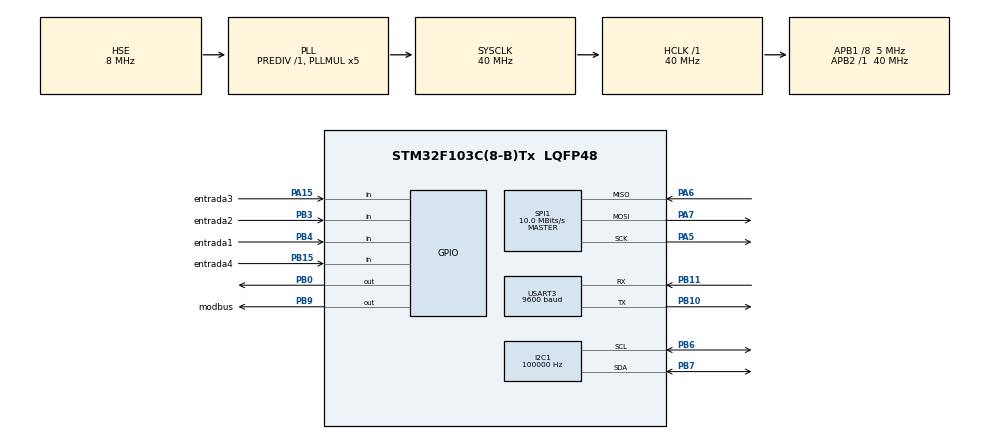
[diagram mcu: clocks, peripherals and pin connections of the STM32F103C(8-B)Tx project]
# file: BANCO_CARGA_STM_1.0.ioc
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Dma.Request0=USART3_RX
Dma.Request1=USART3_TX
Dma.USART3_RX.0.Direction=DMA_PERIPH_TO_MEMORY
Dma.USART3_RX.0.Instance=DMA1_Channel3
Dma.USART3_RX.0.MemDataAlignment=DMA_MDATAALIGN_BYTE
Dma.USART3_RX.0.MemInc=DMA_MINC_ENABLE
Dma.USART3_RX.0.Mode=DMA_NORMAL
Dma.USART3_RX.0.PeriphDataAlignment=DMA_PDATAALIGN_BYTE
Dma.USART3_RX.0.PeriphInc=DMA_PINC_DISABLE
Dma.USART3_RX.0.Priority=DMA_PRIORITY_LOW
Dma.USART3_TX.1.Direction=DMA_MEMORY_TO_PERIPH
Dma.USART3_TX.1.Instance=DMA1_Channel2
Dma.USART3_TX.1.MemDataAlignment=DMA_MDATAALIGN_BYTE
Dma.USART3_TX.1.MemInc=DMA_MINC_ENABLE
Dma.USART3_TX.1.Mode=DMA_NORMAL
Dma.USART3_TX.1.PeriphDataAlignment=DMA_PDATAALIGN_BYTE
Dma.USART3_TX.1.PeriphInc=DMA_PINC_DISABLE
Dma.USART3_TX.1.Priority=DMA_PRIORITY_LOW
FATFS._MAX_SS=1024
FATFS._USE_LFN=3
I2C1.ClockSpeed=100000
Mcu.Family=STM32F1
Mcu.Name=STM32F103C(8-B)Tx
Mcu.Package=LQFP48
NVIC.DMA1_Channel2_IRQn=true\:0\:0\:false\:false\:true\:false\:true
NVIC.DMA1_Channel3_IRQn=true\:0\:0\:false\:false\:true\:false\:true
NVIC.PriorityGroup=NVIC_PRIORITYGROUP_4
NVIC.USART3_IRQn=true\:0\:0\:false\:false\:true\:true\:true
PA13.Mode=Serial_Wire
PA13.Signal=SYS_JTMS-SWDIO
PA14.Mode=Serial_Wire
PA14.Signal=SYS_JTCK-SWCLK
PA15.GPIO_Label=entrada3
PA15.Signal=GPIO_Input
PA5.Mode=Full_Duplex_Master
PA5.Signal=SPI1_SCK
PA6.Mode=Full_Duplex_Master
PA6.Signal=SPI1_MISO
PA7.Mode=Full_Duplex_Master
PA7.Signal=SPI1_MOSI
PB0.Signal=GPIO_Output
PB10.Mode=Asynchronous
PB10.Signal=USART3_TX
PB11.Mode=Asynchronous
PB11.Signal=USART3_RX
PB15.GPIO_Label=entrada4
PB15.Signal=GPIO_Input
PB3.GPIO_Label=entrada2
PB3.Signal=GPIO_Input
PB4.GPIO_Label=entrada1
PB4.Signal=GPIO_Input
PB6.Mode=I2C
PB6.Signal=I2C1_SCL
PB7.Mode=I2C
PB7.Signal=I2C1_SDA
PB9.GPIO_Label=modbus
PB9.Signal=GPIO_Output
PD0-OSC_IN.Mode=HSE-External-Oscillator
PD0-OSC_IN.Signal=RCC_OSC_IN
PD1-OSC_OUT.Mode=HSE-External-Oscillator
PD1-OSC_OUT.Signal=RCC_OSC_OUT
ProjectManager.HeapSize=0x200
ProjectManager.StackSize=0x400
ProjectManager.TargetToolchain=STM32CubeIDE
RCC.AHBFreq_Value=40000000
RCC.APB1CLKDivider=RCC_HCLK_DIV8
RCC.APB1Freq_Value=5000000
RCC.APB1TimFreq_Value=10000000
RCC.APB2Freq_Value=40000000
RCC.APB2TimFreq_Value=40000000
RCC.HCLKFreq_Value=40000000
RCC.PLLMUL=RCC_PLL_MUL5
RCC.PLLSourceVirtual=RCC_PLLSOURCE_HSE
RCC.SYSCLKFreq_VALUE=40000000
RCC.SYSCLKSource=RCC_SYSCLKSOURCE_PLLCLK
RCC.USBFreq_Value=40000000
SPI1.BaudRatePrescaler=SPI_BAUDRATEPRESCALER_4
SPI1.CalculateBaudRate=10.0 MBits/s
SPI1.Direction=SPI_DIRECTION_2LINES
SPI1.Mode=SPI_MODE_MASTER
SPI1.VirtualType=VM_MASTER
TIM1.Period=0xffff-1
TIM1.Prescaler=1-1
USART3.BaudRate=9600
USART3.VirtualMode=VM_ASYNC
VP_FATFS_VS_Generic.Mode=User_defined
VP_TIM1_VS_ClockSourceINT.Mode=Internal
board=custom

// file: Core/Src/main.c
/* USER CODE BEGIN Header */
/**
  ******************************************************************************
  * @file           : main.c
  * @brief          : Main program body
  ******************************************************************************
  * @attention
  *
  * <h2><center>&copy; Copyright (c) 2021 STMicroelectronics.
  * All rights reserved.</center></h2>
  *
  * This software component is licensed by ST under BSD 3-Clause license,
  * the "License"; You may not use this file except in compliance with the
  * License. You may obtain a copy of the License at:
  *                        opensource.org/licenses/BSD-3-Clause
  *
  ******************************************************************************
  */
/* USER CODE END Header */
#include "main.h"
#include "fatfs.h"

/* USER CODE BEGIN Includes */
#include "i2c-lcd.h"
#include "math.h"
#include "fatfs_sd.h"
#include "string.h"
#include "stdio.h"
/* USER CODE END Includes */

/* USER CODE BEGIN PD */
#define Address_PCF1 0x44//0x42
#define Address_PCF2 0x48//0x4A
/* USER CODE END PD */

I2C_HandleTypeDef hi2c1;

SPI_HandleTypeDef hspi1;

TIM_HandleTypeDef htim1;

UART_HandleTypeDef huart3;
DMA_HandleTypeDef hdma_usart3_rx;
DMA_HandleTypeDef hdma_usart3_tx;

/* USER CODE BEGIN PV */

/*-------- INICIO VARIABLES DEL PROGRAMA --------*/
//RTC
uint8_t get_time[17];
//UBICACION DE SALIDAS
uint8_t salidaReles[] = {
		0xFF,0xFF,
		0xFB,0xFF,
		0xDF,0xFF,
		0xF3,0xFF,
		0xD7,0xFF,
		0x7B,0xFE,
		0xD5,0xFF,
		0x73,0xFE,
		0x95,0xFF,
		0x59,0xFE,
		0xC4,0xFF,
		0x43,0xFE,
		0x84,0xFF,
		0x11,0xFE,
		0x05,0xFE,
		0x01,0xFE,
		0x04,0xFE
		};

//Variables Modbus
uint16_t Tension[3];
uint16_t Corriente[3];
uint16_t Potencia[3];
uint8_t mensaje1[] = {2, 3, 0, 9, 0, 6, 21, 249};		/* Tension Canal A,B,C*/
uint8_t mensaje2[] = {2, 3, 0, 15, 0, 6, 245, 248};	/* Corriente Canal A,B,C*/
uint8_t mensaje3[] = {2, 3, 0, 39, 0, 6, 117, 240};	/*Potencia Canal A,B,C*/
uint8_t M_Tension[17];
uint8_t M_Corriente[17];
uint8_t M_Potencia[17];
uint8_t h_calculo = 0;
uint8_t h_envio = 0;
uint32_t mantisa = 0;
int16_t ex;
uint8_t devolucion;
uint8_t dato_a;
uint8_t dato_b;
uint8_t dato_c;
uint8_t dato_d;
uint8_t ubicacion;
uint8_t crc2 = 0;
uint8_t crc1 = 0;
uint16_t crcinicio;
uint8_t receptordei2c = 0;

//Varibales pulsadores
uint8_t est_up , est_down , est_left , est_right ;
uint8_t seg_up = 0;
uint8_t seg_down = 0;
uint8_t seg_left = 0;
uint8_t seg_right = 0;

//Variables menu
uint8_t menu_conf = 1;
uint8_t menu_auto = 0;
uint8_t menu_manu = 0;
uint8_t pag_menu = 0;
uint8_t g_menu = 0;
uint8_t m_cursor = 0;
uint8_t cursor_fila = 0;
uint8_t paso = 1;
uint8_t pag_anterior = 0;
uint8_t leer = 1;
uint8_t compsegundo;
uint32_t tiempo1;
uint32_t tiempo2;
//Variables de salida
uint8_t tiempo = 1;
uint8_t P_min = 1;
uint8_t P_max = 1;
uint8_t P_pas = 1;
uint8_t P_modo = 1;
uint8_t P_modo_franco = 1;
uint8_t P_sig = 0;
uint8_t direccion = 0;
uint8_t fin = 0;
uint8_t ultimo = 0;
uint8_t set_segundo;
uint8_t set_minuto;
uint8_t set_hors;
uint8_t i2c_tiempo_ok = 0;
//PARA VISUALIZAR EN DISPLAY
uint8_t dif_hora = 0;
uint8_t dif_minuto = 0;
uint8_t dif_segundo = 0;
//Variables Creacion de Caracteres
char customChar[] = {
  0x00,
  0x04,
  0x02,
  0x1F,
  0x02,
  0x04,
  0x00,
  0x00
};
char ambos[] = {
  0x04,
  0x0E,
  0x1F,
  0x00,
  0x00,
  0x1F,
  0x0E,
  0x04
};

char arriba[] = {
  0x04,
  0x0E,
  0x1F,
  0x00,
  0x00,
  0x00,
  0x00,
  0x00
};
char abajo[] = {
  0x00,
  0x00,
  0x00,
  0x00,
  0x00,
  0x1F,
  0x0E,
  0x04
};
/*-------- FIN VARIABLES DEL PROGRAMA --------*/

char paraBuffer[6];

/* USER CODE END PV */

void SystemClock_Config(void);
static void MX_GPIO_Init(void);
static void MX_I2C1_Init(void);
static void MX_SPI1_Init(void);
static void MX_DMA_Init(void);
static void MX_USART3_UART_Init(void);
static void MX_TIM1_Init(void);

/* USER CODE BEGIN 0 */
FATFS fs;  // file system
FIL fil; // File
FILINFO fno;
FRESULT fresult;  // result
UINT br, bw;  // File read/write count

/**** capacity related *****/
FATFS *pfs;
DWORD fre_clust;
uint32_t total, free_space;

#define BUFFER_SIZE 50
char buffer[BUFFER_SIZE];  // to store strings..

int i=0;

static void User_I2C1_GeneralPurposeOutput_Init(I2C_HandleTypeDef* i2cHandle)
{

    GPIO_InitTypeDef GPIO_InitStruct;
    if(i2cHandle->Instance==I2C1)
    {
        /*   PB10     ------> I2C2_SCL; PB11     ------> I2C2_SDA */
        GPIO_InitStruct.Pin = GPIO_PIN_6|GPIO_PIN_7;
        GPIO_InitStruct.Mode = GPIO_MODE_OUTPUT_OD;
        GPIO_InitStruct.Speed = GPIO_SPEED_FREQ_HIGH;
        HAL_GPIO_Init(GPIOB, &GPIO_InitStruct);
    }
}

static void User_I2C1_AlternateFunction_Init(I2C_HandleTypeDef* i2cHandle)
{

    GPIO_InitTypeDef GPIO_InitStruct;
    if(i2cHandle->Instance==I2C1)
    {
        /*   PB10     ------> I2C2_SCL; PB11     ------> I2C2_SDA */
        GPIO_InitStruct.Pin = GPIO_PIN_6|GPIO_PIN_7;
        GPIO_InitStruct.Mode = GPIO_MODE_AF_OD;
        GPIO_InitStruct.Speed = GPIO_SPEED_FREQ_HIGH;
        HAL_GPIO_Init(GPIOB, &GPIO_InitStruct);
    }
}

HAL_StatusTypeDef I2CResetBus(void)
{
    hi2c1.ErrorCode = HAL_I2C_ERROR_AF;
    /* 1. Disable the I2C peripheral by clearing the PE bit in I2Cx_CR1 register */
    __HAL_I2C_DISABLE(&hi2c1);
    HAL_GPIO_DeInit(GPIOB, GPIO_PIN_6|GPIO_PIN_7);

    /* 2. Configure the SCL and SDA I/Os as General Purpose Output Open-Drain, High level (Write 1 to GPIOx_ODR) */
    User_I2C1_GeneralPurposeOutput_Init(&hi2c1);
    HAL_Delay(1);
    HAL_GPIO_WritePin(GPIOB, GPIO_PIN_6 | GPIO_PIN_7, GPIO_PIN_SET);
    HAL_Delay(1);

    /* 3. Check SCL and SDA High level in GPIOx_IDR */
    if ((HAL_GPIO_ReadPin(GPIOB, GPIO_PIN_6) != GPIO_PIN_SET)||(HAL_GPIO_ReadPin(GPIOB, GPIO_PIN_7) != GPIO_PIN_SET))
    {
#ifdef I2C_TEST
        printf("3.PB6=%d, PB7=%d\r\n", HAL_GPIO_ReadPin(GPIOB, GPIO_PIN_6), HAL_GPIO_ReadPin(GPIOB, GPIO_PIN_7));
#endif
        return HAL_ERROR;
    }

    /* 4. Configure the SDA I/O as General Purpose Output Open-Drain, Low level (Write 0 to GPIOx_ODR).
     * 5. Check SDA Low level in GPIOx_IDR.
     * 6. Configure the SCL I/O as General Purpose Output Open-Drain, Low level (Write 0 to GPIOx_ODR)
     * 7. Check SCL Low level in GPIOx_IDR.
     * */
    HAL_GPIO_WritePin(GPIOB, GPIO_PIN_6|GPIO_PIN_7, GPIO_PIN_RESET);
    HAL_Delay(1);
    if ((HAL_GPIO_ReadPin(GPIOB, GPIO_PIN_6) != GPIO_PIN_RESET)||(HAL_GPIO_ReadPin(GPIOB, GPIO_PIN_7) != GPIO_PIN_RESET))
    {
#ifdef I2C_TEST
        printf("4-7.PB6=%d, PB7=%d\r\n", HAL_GPIO_ReadPin(GPIOB, GPIO_PIN_6), HAL_GPIO_ReadPin(GPIOB, GPIO_PIN_7));
#endif
        return HAL_ERROR;
    }

    /*
     * 8. Configure the SCL I/O as General Purpose Output Open-Drain, High level (Write 1 to GPIOx_ODR).
     * 9. Check SCL High level in GPIOx_IDR.
     * 10. Configure the SDA I/O as General Purpose Output Open-Drain , High level (Write 1 to GPIOx_ODR).
     * 11. Check SDA High level in GPIOx_IDR.
     */
    HAL_GPIO_WritePin(GPIOB, GPIO_PIN_6|GPIO_PIN_7, GPIO_PIN_SET);
    HAL_Delay(1);
    if ((HAL_GPIO_ReadPin(GPIOB, GPIO_PIN_6) != GPIO_PIN_SET)||(HAL_GPIO_ReadPin(GPIOB, GPIO_PIN_7) != GPIO_PIN_SET))
    {
#ifdef I2C_TEST
        printf("8-11.PB6=%d, PB7=%d\r\n", HAL_GPIO_ReadPin(GPIOB, GPIO_PIN_6), HAL_GPIO_ReadPin(GPIOB, GPIO_PIN_7));
#endif
        return HAL_ERROR;
    }

    /* 12. Configure the SCL and SDA I/Os as Alternate function Open-Drain. */
    HAL_GPIO_DeInit(GPIOB, GPIO_PIN_6|GPIO_PIN_7);
    User_I2C1_AlternateFunction_Init(&hi2c1);

    /* 13. Set SWRST bit in I2Cx_CR1 register. */
    hi2c1.Instance->CR1 |=  I2C_CR1_SWRST;
    HAL_Delay(2);
    /* 14. Clear SWRST bit in I2Cx_CR1 register. */
    hi2c1.Instance->CR1 &=  ~I2C_CR1_SWRST;
    HAL_Delay(2);
    /* 15. Enable the I2C peripheral by setting the PE bit in I2Cx_CR1 register */
    MX_I2C1_Init();
    __HAL_I2C_ENABLE(&hi2c1);
    HAL_Delay(2);
#ifdef I2C_TEST
    printf("I2CResetBus\r\n");
#endif
    hi2c1.ErrorCode = HAL_I2C_ERROR_NONE;
    hi2c1.State = HAL_I2C_STATE_READY;
    //hi2c1.PreviousState = I2C_STATE_NONE;
    hi2c1.Mode = HAL_I2C_MODE_NONE;
    return HAL_OK;
}

int bufsize (char *buf)
{
	int i=0;
	while (*buf++ != '\0') i++;
	return i;
}

void clear_buffer (void)
{
	for (int i=0; i<BUFFER_SIZE; i++) buffer[i] = '\0';
}

#define DS3231_ADDRESS 0xD0

uint8_t decToBcd(int val){
  return (uint8_t)( (val/10*16) + (val%10) );
}
// Convert binary coded decimal to normal decimal numbers
int bcdToDec(uint8_t val){
  return (int)( (val/16*10) + (val%16) );
}

typedef struct {
	uint8_t seconds;
	uint8_t minutes;
	uint8_t hour;
	uint8_t dayofweek;
	uint8_t dayofmonth;
	uint8_t month;
	uint8_t year;
} TIME;

TIME time;
void Set_Time (uint8_t sec, uint8_t min, uint8_t hour, uint8_t dow, uint8_t dom, uint8_t month, uint8_t year)
{
	uint8_t set_time[7];
	set_time[0] = decToBcd(sec);
	set_time[1] = decToBcd(min);
	set_time[2] = decToBcd(hour);
	set_time[3] = decToBcd(dow);
	set_time[4] = decToBcd(dom);
	set_time[5] = decToBcd(month);
	set_time[6] = decToBcd(year);

	HAL_I2C_Mem_Write(&hi2c1, DS3231_ADDRESS, 0x00, 1, set_time, 7, 1000);
}

void Get_Time (void)
{
	HAL_Delay(1);
	uint8_t est_rtc;
	uint8_t conteo = 0;
	est_rtc = HAL_I2C_Mem_Read(&hi2c1, DS3231_ADDRESS, 0x00, 1, get_time, 17, 200);
	while(est_rtc != HAL_OK){
		est_rtc = HAL_I2C_Mem_Read(&hi2c1, DS3231_ADDRESS, 0x00, 1, get_time, 17, 50);
		conteo++;
		if(conteo > 2) {
			I2CResetBus();
			conteo = 0;
		}
	}
	HAL_Delay(1);
	time.seconds = bcdToDec(get_time[0]);
	time.minutes = bcdToDec(get_time[1]);
	time.hour = bcdToDec(get_time[2]);
	time.dayofweek = bcdToDec(get_time[3]);
	time.dayofmonth = bcdToDec(get_time[4]);
	time.month = bcdToDec(get_time[5]);
	time.year = bcdToDec(get_time[6]);
}
char buffer1[11];

void pcf1_send (uint8_t data){
	uint8_t dato1[1];
	dato1[0]= data;
	HAL_I2C_Master_Transmit(&hi2c1, Address_PCF1 , dato1, 1, 100);
}

void pcf2_send (uint8_t data){
	uint8_t dato2[1];
	dato2[0]= data;
	HAL_I2C_Master_Transmit(&hi2c1, Address_PCF2 , dato2, 1, 100);
}

void Pulsadores(void){
	est_right 	= HAL_GPIO_ReadPin(entrada1_GPIO_Port, entrada1_Pin);
	est_left 	= HAL_GPIO_ReadPin(entrada2_GPIO_Port, entrada2_Pin);
	est_down 	= HAL_GPIO_ReadPin(entrada3_GPIO_Port, entrada3_Pin);
	est_up 		= HAL_GPIO_ReadPin(entrada4_GPIO_Port, entrada4_Pin);

	//-------Configuracion de PULSADOR UP-------
	if((seg_up == 1)&&(est_up == 0)){
		seg_up = 0;
	}
	if((seg_up == 1)&&(est_up == 1)){
	    est_up = 0;
	}
	if((seg_up == 0)&&(est_up == 1)){
	    est_up = 1;
	    seg_up = 1;
	}
	//-------Configuracion de PULSADOR DOWN-------
	if((seg_down == 1)&&(est_down == 0)){
	    seg_down = 0;
	}
	if((seg_down == 1)&&(est_down == 1)){
	    est_down = 0;
	}
	if((seg_down == 0)&&(est_down == 1)){
	    est_down = 1;
	    seg_down = 1;
	}
	//-------Configuracion de PULSADOR LEFT-------
	if((seg_left == 1)&&(est_left == 0)){
	    seg_left = 0;
	}
	if((seg_left == 1)&&(est_left == 1)){
	    est_left = 0;
	}
	if((seg_left == 0)&&(est_left == 1)){
	    est_left = 1;
	    seg_left = 1;
	}
	//-------Configuracion de PULSADOR RIGHT-------
	if((seg_right == 1)&&(est_right == 0)){
	    seg_right = 0;
	}
	if((seg_right == 1)&&(est_right == 1)){
	    est_right = 0;
	}
	if((seg_right == 0)&&(est_right == 1)){
	    est_right = 1;
	    seg_right = 1;
	}
}

void Lcd_Cursor(void){
  //--------- EST_DOWN ---------
  if(est_down == 1){
    if(g_menu == 5){
      pag_menu = 5;
      paso--;
      if(paso<1){paso = 1;}
    }
    if(g_menu == 6){
      pag_menu = 6;
      paso--;
      if(paso<1){paso = 1;}
    }
    if(g_menu == 8){
      pag_menu = 8;
      paso--;
      if(paso>250){paso=0;}
    }
    if(cursor_fila==1){
      switch(g_menu){
        case 1: pag_menu = 2; cursor_fila = 0; break;
        case 2: pag_menu = 3; cursor_fila = 0; break;
        case 4: pag_menu = 4; cursor_fila = 0; paso = paso+2;
                if((paso>16)&&((pag_anterior == 1)||(pag_anterior == 2))){paso = 15; cursor_fila = 1;}
                if((paso >4)&&(pag_anterior == 3)){paso = 3; cursor_fila = 1;}
        break;
      }
    }
    else{ cursor_fila=1; }
    //--------- EST_UP ---------
  }else if(est_up == 1){
    if(g_menu == 5){
      pag_menu = 5;
      paso++;
      if(paso>16){paso = 16;}
    }
    if(g_menu == 6){
      pag_menu = 6;
      paso++;
      if(paso>3){paso = 3;}
    }
    if(g_menu == 8){
      pag_menu = 8;
      paso++;
      if(paso>=16){paso=16;}
    }
    if(cursor_fila == 0){
      switch(g_menu){
        case 2: pag_menu = 1; cursor_fila = 1; break;
        case 3: pag_menu = 2; cursor_fila = 1; break;
        case 4: pag_menu = 4; cursor_fila = 1; paso = paso-2;
              if((paso<1)||(paso > 250)){paso = 1; cursor_fila = 0;}
        break;
      }
    }
    else{cursor_fila=0;}
  }
  //--------- EST_RIGHT ---------
  if(est_right == 1){
    switch(g_menu){
      case 0:
            switch(cursor_fila){
              case 0: pag_menu = 1; break;
              case 1: pag_menu = 8; break;
            }
      break;
      case 1:
            switch(cursor_fila){
              case 0: pag_menu = 4; pag_anterior = 1;if(P_min % 2 == 0){paso = P_min -1; cursor_fila = 1;}else{paso = P_min; cursor_fila = 0;} break;  /*INSTRUCCION POTENCIA MIN*/
              case 1: pag_menu = 4; cursor_fila = 0; pag_anterior = 2; if(P_max % 2 == 0){paso = P_max -1; cursor_fila = 1;}else{paso = P_max; cursor_fila = 0;} break; /*INSTRUCCION POTENCIA MAX*/
            }
      break;
      case 2:
            switch(cursor_fila){
              case 0: pag_menu = 4; pag_anterior = 3; if(P_pas % 2 == 0){paso = P_pas -1; cursor_fila = 1;}else{paso = P_pas; cursor_fila = 0;} break; /*INSTRUCCION POTENCIA PASO*/
              case 1: pag_menu = 5; if(tiempo<5){paso = tiempo;}else if(tiempo >= 5 ){paso = (tiempo*0.2)+4;} break; /*INSTRUCCION TIEMPO PASO*/
            }
      break;
      case 3:
            switch(cursor_fila){
              case 0: pag_menu = 6; paso = P_modo; break; /*INSTRUCCION MODO ARRANQUE*/
              case 1: pag_menu = 7; break; /*INSTRUCCION INICIAR*/
            }
      break;
      case 4:
          switch(pag_anterior){
            case 1: if(cursor_fila == 0){P_min = paso;}else{P_min = paso+1;} pag_menu = 1; cursor_fila = 0;
            break;
            case 2: if(cursor_fila == 0){P_max = paso;}else{P_max = paso+1;} pag_menu = 1; cursor_fila = 1;
            break;
            case 3: if(cursor_fila == 0){P_pas = paso;}else{P_pas = paso+1;} pag_menu = 2; cursor_fila = 0;
            break;
          }
      break;
      case 5: pag_menu = 2; cursor_fila = 1;
      break;
      case 6: P_modo = paso; pag_menu = 3; cursor_fila = 0;
      break;
      case 8: //AL DAR EL OK EN LA SELECCION DE POTENCIA MANUAL

    	  	  lcd_clear();
    	  	  uint8_t valor1 = 7.5*paso;
    	  	  uint8_t valor2;
    	  	  if(paso % 2 == 0){
    	  		  valor2 = 0;
    	  	  }else {valor2 = 5;}
    	  	  lcd_put_cur(0,0);
    	  	  lcd_send_string("MAN");
    	  	  lcd_put_cur(0, 8);
    	  	  lcd_send_string("PASO:");
    	  	  sprintf(buffer,"%2d",paso);
    	  	  lcd_send_string(buffer);
    	  	  lcd_put_cur(1, 0);
    	  	  lcd_send_string("POTENCIA:");
    	  	  sprintf(buffer,"%3d.%1d",valor1,valor2);
    	  	  lcd_send_string(buffer);
    	  	  lcd_send_string("Kw");
    	  	  menu_conf = 0;menu_manu = 1;
              direccion = 2*paso;
              pcf1_send(salidaReles[direccion]);
              pcf2_send(salidaReles[direccion+1]);
              compsegundo = time.seconds + 20;
              HAL_GPIO_WritePin(modbus_GPIO_Port, modbus_Pin, 1);
              h_envio = 1;
              h_calculo = 0;
              HAL_UART_Transmit_DMA(&huart3, mensaje1, 8);
      break;
    }
    //--------- EST_LEFT ---------
  }else if(est_left == 1){
    switch(g_menu){
      case 1: pag_menu = 0; cursor_fila = 0; break;
      case 2: pag_menu = 0; cursor_fila = 0; break;
      case 3: pag_menu = 0; cursor_fila = 0; break;
      case 4: switch(pag_anterior){
                case 1: pag_menu = 1; cursor_fila = 0;break;
                case 2: pag_menu = 1; cursor_fila = 1;break;
                case 3: pag_menu = 2; cursor_fila = 0;break;
              }
      break;
      case 5: pag_menu = 2; cursor_fila = 1; break;
      case 6: pag_menu = 3; cursor_fila = 0; break;
      case 7: pag_menu = 3; cursor_fila = 1; break;
      case 8: pag_menu = 0; cursor_fila = 1;
      	  pcf1_send(salidaReles[0]);
      	  pcf2_send(salidaReles[1]);
      break;
    }
  }
  //--------- CURSOR FILA ---------
  if(g_menu < 5){
	lcd_put_cur(!cursor_fila, 0);
    lcd_send_string(" ");
    lcd_put_cur(cursor_fila, 0);
    lcd_write(0);
  } else if(g_menu == 5){
	  lcd_put_cur(1, 0);
    if(paso == 1){lcd_write(2);}
    else if(paso == 16){lcd_write(3);}
    else {lcd_write(1);}
  }

}

void Escritura_SD(void){
	fresult = f_open(&fil, "DATOS.csv", FA_OPEN_ALWAYS | FA_WRITE);
	fresult = f_lseek(&fil, fil.fsize);
	sprintf (buffer1, "%02d/%02d/%04d", time.dayofmonth, time.month, 2000 + time.year);
	f_puts(buffer1, &fil);
	f_puts(",", &fil);
	sprintf (buffer1, "%02d:%02d:%02d", time.hour, time.minutes, time.seconds);
	f_puts(buffer1, &fil);
	f_puts(",", &fil);
	for(uint8_t z=0 ; z<3 ; z++){
		sprintf (buffer1, "%d", Tension[z]);
		f_puts(buffer1, &fil);
		f_puts(",", &fil);
	}
	for(uint8_t x=0 ; x<3 ; x++){
		sprintf (buffer1, "%d", Corriente[x]);
		f_puts(buffer1, &fil);
		f_puts(",", &fil);
	}
	for(uint8_t y=0 ; y<3 ; y++){
		if(y==2){
			sprintf (buffer1, "%d", Potencia[y]);
			f_puts(buffer1, &fil);
			f_puts("\n", &fil);
		}else{
			sprintf (buffer1, "%d", Potencia[y]);
			f_puts(buffer1, &fil);
			f_puts(",", &fil);
		}
	}
	/* Close file */
	fresult = f_close(&fil);
}

/*
void verificadorCRC(void){
	crcinicio = 0xFFFF;
	for(uint8_t z0 = 0; z0 < 15 ; z0++){
		crcinicio ^= recepcion[z0];
		for(uint8_t z1 = 0; z1 < 8 ; z1++){
			if((crcinicio & 0x0001) != 0){
				crcinicio >>= 1;
				crcinicio ^= 0xA001;
			}else{
				crcinicio >>= 1;
			}
		}
	}
	uint16_t ver1 = crcinicio;
	uint16_t ver2 = crcinicio;
	ver2 >>= 8;
	ver1 &= 0xFF;
	crc2= ver2;
	crc1= ver1;
	if((crc1 == recepcion[15])&&(crc2 == recepcion[16])){
		devolucion = 1;
	}else{
		devolucion = 0;
		fresult = f_open(&fil, "Error.txt", FA_OPEN_ALWAYS | FA_WRITE);
		f_lseek(&fil, fil.fsize);
		for(uint8_t z2 = 0; z2<17 ; z2++){
			sprintf (buffer1, "%d", recepcion[z2]);
			f_puts(buffer1, &fil);
			f_puts("\n", &fil);
		}
		sprintf (buffer1, "%d:%d", crc1, crc2);
		f_puts(buffer1, &fil);
		f_puts("\n", &fil);
		f_close(&fil);
	}
}

void Calculo_modbus(void){
	for(uint8_t vuelta=3;vuelta < 12; vuelta+=4){
		dato_a = recepcion[vuelta];
		dato_b = recepcion[1+vuelta];
		dato_c = recepcion[2+vuelta];
		dato_d = recepcion[3+vuelta];
		ex = 0;
		dato_a &= 0x7F;
		ex = ((dato_a*0x100)+dato_b)>>7;
		ex = ex-126;
		if(((dato_b>>7)&(0x1))== 1){
			mantisa = dato_b*0x10000;
			mantisa = mantisa + dato_c*0x100;
			mantisa = mantisa + dato_d;
		}else{
			mantisa = 0x800000;
			mantisa = mantisa + dato_b*0x10000;
			mantisa = mantisa + dato_c*0x100;
			mantisa = mantisa + dato_d;
		}
		if(ex <= 24 ){
			mantisa = mantisa/ pow(2,24-ex);
		}
		ubicacion = (vuelta+1) / 4;
		ubicacion -= 1;
		if(mensaje == 1){
			Tension[ubicacion] = mantisa;
		}else if(mensaje == 2){
			Corriente[ubicacion] = mantisa;
		}else if(mensaje == 3){
			mantisa /= 1000;
			Potencia[ubicacion] = mantisa;
		}
	}
}

void Modbus(void){
	if(HAL_UART_Receive_IT(&huart3, recepcion, 17) == HAL_OK){
		Get_Time();

		uint8_t errormensaje[1];
		while(HAL_UART_Receive(&huart3, errormensaje, 1, 10) == HAL_OK){}
		Calculo_modbus();
		mensaje++;
		if(mensaje == 4) {
			mensaje = 1;
			Enviar_Mensaje(mensaje);
			Escritura_SD();
			lcd_put_cur(1, 0);
			sprintf(buffer, "%6d", Potencia[0]);
			lcd_send_string(buffer);
		}else{
			Enviar_Mensaje(mensaje);
		}
		for (int i=0; i<17; i++) recepcion[i] = '\0';

		verificadorCRC();
		  if(devolucion == 1){
			lcd_put_cur(1, 8);
			lcd_send_string("C");
			Calculo_modbus();
			mensaje++;
			if(mensaje > 3) {
				mensaje= 1;
				Enviar_Mensaje(mensaje);
				Escritura_SD();
				lcd_put_cur(1, 0);
				sprintf(buffer, "%6d", Potencia[0]);
				lcd_send_string(buffer);
			}else{
				Enviar_Mensaje(mensaje);
			}
		}else{
			lcd_put_cur(1, 9);
			lcd_send_string("I");
			Enviar_Mensaje(mensaje);
		}

	}
}
*/

void Calculo_modbus(uint8_t mensaje){
	for(uint8_t vuelta=3;vuelta < 12; vuelta+=4){
		if(mensaje == 1){
			dato_a = M_Tension[vuelta];
			dato_b = M_Tension[1+vuelta];
			dato_c = M_Tension[2+vuelta];
			dato_d = M_Tension[3+vuelta];
		}else if(mensaje == 2){
			dato_a = M_Corriente[vuelta];
			dato_b = M_Corriente[1+vuelta];
			dato_c = M_Corriente[2+vuelta];
			dato_d = M_Corriente[3+vuelta];
		}else if(mensaje == 3){
			dato_a = M_Potencia[vuelta];
			dato_b = M_Potencia[1+vuelta];
			dato_c = M_Potencia[2+vuelta];
			dato_d = M_Potencia[3+vuelta];
		}
		ex = 0;
		dato_a &= 0x7F;
		ex = ((dato_a*0x100)+dato_b)>>7;
		ex = ex-126;
		if(((dato_b>>7)&(0x1))== 1){
			mantisa = dato_b*0x10000;
			mantisa = mantisa + dato_c*0x100;
			mantisa = mantisa + dato_d;
		}else{
			mantisa = 0x800000;
			mantisa = mantisa + dato_b*0x10000;
			mantisa = mantisa + dato_c*0x100;
			mantisa = mantisa + dato_d;
		}
		if(ex <= 24 ){
			mantisa = mantisa/ pow(2,24-ex);
		}
		ubicacion = (vuelta+1) / 4;
		ubicacion -= 1;
		if(mensaje == 1){
			Tension[ubicacion] = mantisa;
		}else if(mensaje == 2){
			Corriente[ubicacion] = mantisa;
		}else if(mensaje == 3){
			mantisa /= 1000;
			Potencia[ubicacion] = mantisa;
		}
	}
}

void Procesado(){
	if((h_calculo & 0x01)== 0x01){
		Calculo_modbus(1);
		h_calculo ^= 0x01;
	}else if((h_calculo & 0x02)== 0x02){
		Calculo_modbus(2);
		h_calculo ^= 0x02;
	}else if((h_calculo & 0x04)== 0x04){
		Calculo_modbus(3);

		h_calculo ^= 0x04;
	}
}

void MuestraDisplay(){
	uint8_t P_uso = P_sig - 1;
	uint8_t valor1 = 7.5*P_uso;
	uint8_t valor2;

	if(P_uso % 2 == 0){
		valor2 = 0;
	}else {valor2 = 5;}
	tiempo1 = time.hour*3600 + time.minutes*60 + time.seconds;
	tiempo2 = set_hors*3600 + set_minuto*60 + set_segundo;
	uint16_t diferencia;
	if(tiempo2 > tiempo1 ){
		diferencia = tiempo2 - tiempo1;
		if((diferencia/60) < 60){
			dif_hora = 0;
			dif_minuto = diferencia/60;
			dif_segundo = diferencia - dif_minuto*60;
		}else{
			dif_hora = diferencia/3600;
			dif_minuto = diferencia/60;
			dif_minuto = dif_minuto - dif_hora*60;
			dif_segundo = diferencia - (dif_hora*3600 + dif_minuto*60);
		}
	}else if(tiempo1 == tiempo2){
		dif_hora = 0;
		dif_segundo = 0;
		dif_segundo = 0;
	}else{

	}
	lcd_put_cur(0,0);
	lcd_send_string("AUTO");
	lcd_put_cur(0, 8);
	lcd_send_string("PASO:");
	sprintf(buffer,"%2d",P_uso);
	lcd_send_string(buffer);
	lcd_put_cur(1, 0);
	sprintf(buffer,"%3d.%1d",valor1,valor2);
	lcd_send_string(buffer);
	lcd_send_string("Kw");
	sprintf(buffer, "%02d:%02d:%02d", dif_hora, dif_minuto, dif_segundo);
	lcd_put_cur(1, 8);
	lcd_send_string(buffer);
	compsegundo = time.seconds;
}

void Automatico(void){

  //Modbus();
  //lcd_put_cur(1, 0);
  //lcd.print(Potencia[0]);lcd_send_string("W      ");
  if(leer == 1){
	pcf1_send(salidaReles[direccion]);
	pcf2_send(salidaReles[direccion+1]);

    set_segundo = time.seconds;
    set_minuto = time.minutes;
    set_minuto = set_minuto + tiempo;
    set_hors = time.hour;
    if(set_minuto >= 60){
      set_minuto = set_minuto - 60;
      set_hors = set_hors + 1;
    }
    leer = 0;
    if(ultimo == 0){
      if(P_modo == 1){
          P_sig = P_sig + P_pas;
          direccion = 2*P_sig;
          if(P_sig >= P_max){
            P_sig = P_max;
            direccion = 2*P_sig;
            ultimo = 1;
          }
      }else if(P_modo == 2){
          P_sig = P_sig - P_pas;
          direccion = 2*P_sig;
          if((P_sig<=P_min)||(P_sig>240)){
            P_sig = P_min;
            direccion = 2*P_sig;
            ultimo = 1;
          }
      }else if(P_modo == 3){
          if(P_modo_franco == 1){
              P_sig = P_sig + P_pas;
              direccion = 2*P_sig;
              if(P_sig >= P_max){
                P_sig = P_max;
                direccion = 2*P_sig;
                P_modo_franco = 0;
              }
          }else if(P_modo_franco == 0){
              P_sig = P_sig - P_pas;
              direccion = 2*P_sig;
              if((P_sig<=P_min)||(P_sig>240)){
                P_sig = P_min;
                direccion = 2*P_sig;
                ultimo = 1;
              }
          }
      }
    }else{fin = 1;}
  }
  if(time.seconds != compsegundo) {MuestraDisplay(); Escritura_SD();}
  Procesado();
  if((time.seconds== set_segundo)&&(time.minutes== set_minuto)&&(time.hour == set_hors)){
    //Vuelve a repetir el leer
    if(fin == 1){
      menu_conf = 1;
      menu_auto = 0;
      menu_manu = 0;
      pag_menu = 0;
      g_menu = 0;
      m_cursor = 0;
      cursor_fila = 0;
      paso = 1;
      pag_anterior = 0;
      pcf1_send(salidaReles[0]);
      pcf2_send(salidaReles[1]);
      lcd_clear();
      lcd_put_cur(0, 0);
      lcd_send_string("FIN DE SECUENCIA");
      HAL_Delay(2000);
    }else{
      leer = 1;
    }
  }
}

void Manual(void){
	if(time.seconds != compsegundo) {Escritura_SD();compsegundo = time.seconds;}
	Procesado();
  //Modbus();
  //lcd_put_cur(1, 0);
  //lcd.print(Potencia[0]);lcd_send_string("W      ");

  if(est_left == 1){
      menu_conf = 1;
      menu_auto = 0;
      menu_manu = 0;
      pag_menu = 8;
      g_menu = 8;
  }
}

void Lcd_Menu(void){
  if(pag_menu == 0){
      lcd_clear();
      lcd_put_cur(0, 1);
      lcd_send_string("AUTOMATICO");
      lcd_put_cur(1, 1);
      lcd_send_string("MANUAL");
  }else if(pag_menu == 1){
      lcd_clear();
      lcd_put_cur(0, 1);
      lcd_send_string("POTENCIA MIN");
      lcd_put_cur(1, 1);
      lcd_send_string("POTENCIA MAX");
      lcd_put_cur(1, 15);
      lcd_write(3);
  }else if(pag_menu == 2){
      lcd_clear();
      lcd_put_cur(0, 15);
      lcd_write(2);
      lcd_put_cur(0, 1);
      lcd_send_string("POTENCIA PASO");

      lcd_put_cur(1, 1);
      lcd_send_string("TIEMPO PASO");
      lcd_put_cur(1, 15);
      lcd_write(3);
  }else if(pag_menu == 3){
      lcd_clear();
      lcd_put_cur(0, 15);
      lcd_write(2);
      lcd_put_cur(0, 1);
      lcd_send_string("MODO ARRANQUE");
      lcd_put_cur(1, 1);
      lcd_send_string("INICIAR");
  }else if(pag_menu == 4){
	  uint16_t valor1 = 75*paso;
      uint16_t valor2 = 75*(paso+1);
      uint8_t ent_valor1 = valor1*0.1;
      uint8_t ent_valor2 = valor2*0.1;
      uint8_t un_valor1 = valor1 - (ent_valor1 * 10);
      uint8_t un_valor2 = valor2 - (ent_valor2 * 10);
      lcd_clear();
      lcd_put_cur(0, 1);
      sprintf(buffer,"%d",ent_valor1);
      lcd_send_string(buffer);//lcd.print(ent_valor1);
      lcd_send_string(".");
      sprintf(buffer,"%d",un_valor1);
      lcd_send_string(buffer);//lcd.print(un_valor1);
      lcd_put_cur(1, 1);
      sprintf(buffer,"%d",ent_valor2);
      lcd_send_string(buffer);//lcd.print(ent_valor2);
      lcd_send_string(".");
      sprintf(buffer,"%d",un_valor2);
      lcd_send_string(buffer);//lcd.print(un_valor2);
  }else if(pag_menu == 5){
      if(paso<5){
        tiempo = paso;
      }else if(paso >= 5 ){
        tiempo = 5*(paso-4);
      }
      lcd_clear();
      lcd_put_cur(0, 1);
      lcd_send_string("TIEMPO POR PASO");
      lcd_put_cur(1, 1);
      sprintf(buffer,"%d",tiempo);
      lcd_send_string(buffer);//lcd.print(tiempo);
      lcd_send_string(" min");
  }else if(pag_menu == 6){
      lcd_clear();
      lcd_put_cur(0, 0);
      lcd_send_string("MODO DE ARRANQUE");
      lcd_put_cur(1, 0);
      switch(paso){
        case 1: lcd_write(2);
        	lcd_send_string("MIN-MAX");
        break;
        case 2: lcd_write(1);
        	lcd_send_string("MAX-MIN");
        break;
        case 3: lcd_write(3);
        	lcd_send_string("MIN-MAX-MIN");
        break;
      }
  }else if(pag_menu == 7){
    lcd_clear();
    menu_conf = 0;
    leer = 1;
    menu_auto = 1;
    ultimo = 0;
    fin = 0;
    if(P_modo == 1){
      P_sig = P_min;
      direccion = 2*P_min;
    }else if(P_modo == 2){
      P_sig = P_max;
      direccion = 2*P_max;
    }else if(P_modo == 3){
      P_sig = P_min;
      direccion = 2*P_min;
      P_modo_franco = 1;
    }
    compsegundo = time.seconds + 20;
    HAL_GPIO_WritePin(modbus_GPIO_Port, modbus_Pin, 1);
    h_envio = 1;
    h_calculo = 0;
    HAL_UART_Transmit_DMA(&huart3, mensaje1, 8);

  }else if(pag_menu == 8){		//AL DAR EL OK EN MENU "MANUAL"
    uint16_t valor1 = 75*paso;
    uint8_t ent_valor1 = valor1*0.1;
    uint8_t un_valor1 = valor1 - (ent_valor1 * 10);
    lcd_clear();
    lcd_put_cur(0, 0);
    if(paso == 0){
    	lcd_write(2);
    }else if(paso == 16){
    	lcd_write(3);
    }else{lcd_write(1);}
    lcd_put_cur(0, 1);
    lcd_send_string("POTENCIA: ");
    sprintf(buffer,"%d",ent_valor1);
    lcd_send_string(buffer);//lcd.print(ent_valor1);
    lcd_send_string(".");
    sprintf(buffer,"%d",un_valor1);
    lcd_send_string(buffer);//lcd.print(un_valor1);
  }

  if(pag_menu != 254){
    g_menu = pag_menu;
  }
  pag_menu = 254;
}

void Ajuste(void){
  Lcd_Menu();
  Lcd_Cursor();
}

/* USER CODE END 0 */

int main(void)
{

  /* MCU Configuration--------------------------------------------------------*/

  /* Reset of all peripherals, Initializes the Flash interface and the Systick. */
  HAL_Init();

  /* Configure the system clock */
  SystemClock_Config();

  /* Initialize all configured peripherals */
  MX_GPIO_Init();
  MX_I2C1_Init();
  MX_SPI1_Init();
  MX_FATFS_Init();
  MX_DMA_Init();
  MX_USART3_UART_Init();
  MX_TIM1_Init();
  /* USER CODE BEGIN 2 */

  /*------------------------- INICIO DE LA PROGRAMACION -------------------------*/

  pcf1_send(0xFF);
  pcf2_send(0xFF);

  lcd_init();
  HAL_Delay (1000);
  lcd_create_character(0, customChar);
  lcd_create_character(1, ambos);
  lcd_create_character(2, arriba);
  lcd_create_character(3, abajo);
  lcd_put_cur(0, 0);
  lcd_send_string("Iniciando SD ...");
  HAL_Delay(1000);
  lcd_clear();
  fresult = f_mount(&fs, "/", 1);
  while(fresult != FR_OK) {
	  f_mount(NULL, "/", 1);
	  HAL_Delay(50);
	  fresult = f_mount(&fs, "/", 1);
	  lcd_put_cur(0, 0);
	  lcd_send_string("Inserte SD");
  }
  lcd_put_cur(0, 0);
  lcd_send_string("SD iniciado");
  HAL_Delay(1000);
  lcd_clear();
  fresult = f_open(&fil, "DATOS.csv", FA_OPEN_EXISTING | FA_READ | FA_WRITE);
  f_close(&fil);
  if(fresult != FR_OK){
	  fresult = f_open(&fil, "DATOS.csv", FA_OPEN_ALWAYS | FA_WRITE);
	  /* Writing text */
	  fresult = f_puts("FECHA,HORA,TENSION A,TENSION B,TENSION C,CORRIENTE A,CORRIENTE B,CORRIENTE C,POTENCIA A,POTENCIA B,POTENCIA C", &fil);
	  f_puts("\n", &fil);
	  /* Close file */
	  fresult = f_close(&fil);
  }

  //HAL_TIM_Base_Start(&htim1);
  /* USER CODE END 2 */

  /* Infinite loop */
  /* USER CODE BEGIN WHILE */
  while (1)
  {

	  Pulsadores();
	  Get_Time();
	  if(menu_conf == 1){
		  Ajuste();
	  }
	  if(menu_auto == 1){
	      Automatico();
	  }
	  if(menu_manu == 1){
	      Manual();
	  }

    /* USER CODE END WHILE */

  }
}

void SystemClock_Config(void)
{
  RCC_OscInitTypeDef RCC_OscInitStruct = {0};
  RCC_ClkInitTypeDef RCC_ClkInitStruct = {0};

  /** Initializes the RCC Oscillators according to the specified parameters
  * in the RCC_OscInitTypeDef structure.
  */
  RCC_OscInitStruct.OscillatorType = RCC_OSCILLATORTYPE_HSE;
  RCC_OscInitStruct.HSEState = RCC_HSE_ON;
  RCC_OscInitStruct.HSEPredivValue = RCC_HSE_PREDIV_DIV1;
  RCC_OscInitStruct.HSIState = RCC_HSI_ON;
  RCC_OscInitStruct.PLL.PLLState = RCC_PLL_ON;
  RCC_OscInitStruct.PLL.PLLSource = RCC_PLLSOURCE_HSE;
  RCC_OscInitStruct.PLL.PLLMUL = RCC_PLL_MUL5;
  if (HAL_RCC_OscConfig(&RCC_OscInitStruct) != HAL_OK)
  {
    Error_Handler();
  }
  /** Initializes the CPU, AHB and APB buses clocks
  */
  RCC_ClkInitStruct.ClockType = RCC_CLOCKTYPE_HCLK|RCC_CLOCKTYPE_SYSCLK
                              |RCC_CLOCKTYPE_PCLK1|RCC_CLOCKTYPE_PCLK2;
  RCC_ClkInitStruct.SYSCLKSource = RCC_SYSCLKSOURCE_PLLCLK;
  RCC_ClkInitStruct.AHBCLKDivider = RCC_SYSCLK_DIV1;
  RCC_ClkInitStruct.APB1CLKDivider = RCC_HCLK_DIV8;
  RCC_ClkInitStruct.APB2CLKDivider = RCC_HCLK_DIV1;

  if (HAL_RCC_ClockConfig(&RCC_ClkInitStruct, FLASH_LATENCY_1) != HAL_OK)
  {
    Error_Handler();
  }
}

static void MX_I2C1_Init(void)
{

  hi2c1.Instance = I2C1;
  hi2c1.Init.ClockSpeed = 100000;
  hi2c1.Init.DutyCycle = I2C_DUTYCYCLE_2;
  hi2c1.Init.OwnAddress1 = 0;
  hi2c1.Init.AddressingMode = I2C_ADDRESSINGMODE_7BIT;
  hi2c1.Init.DualAddressMode = I2C_DUALADDRESS_DISABLE;
  hi2c1.Init.OwnAddress2 = 0;
  hi2c1.Init.GeneralCallMode = I2C_GENERALCALL_DISABLE;
  hi2c1.Init.NoStretchMode = I2C_NOSTRETCH_DISABLE;
  if (HAL_I2C_Init(&hi2c1) != HAL_OK)
  {
    Error_Handler();
  }

}

static void MX_SPI1_Init(void)
{

  /* SPI1 parameter configuration*/
  hspi1.Instance = SPI1;
  hspi1.Init.Mode = SPI_MODE_MASTER;
  hspi1.Init.Direction = SPI_DIRECTION_2LINES;
  hspi1.Init.DataSize = SPI_DATASIZE_8BIT;
  hspi1.Init.CLKPolarity = SPI_POLARITY_LOW;
  hspi1.Init.CLKPhase = SPI_PHASE_1EDGE;
  hspi1.Init.NSS = SPI_NSS_SOFT;
  hspi1.Init.BaudRatePrescaler = SPI_BAUDRATEPRESCALER_4;
  hspi1.Init.FirstBit = SPI_FIRSTBIT_MSB;
  hspi1.Init.TIMode = SPI_TIMODE_DISABLE;
  hspi1.Init.CRCCalculation = SPI_CRCCALCULATION_DISABLE;
  hspi1.Init.CRCPolynomial = 10;
  if (HAL_SPI_Init(&hspi1) != HAL_OK)
  {
    Error_Handler();
  }

}

static void MX_TIM1_Init(void)
{

  TIM_ClockConfigTypeDef sClockSourceConfig = {0};
  TIM_MasterConfigTypeDef sMasterConfig = {0};

  htim1.Instance = TIM1;
  htim1.Init.Prescaler = 1-1;
  htim1.Init.CounterMode = TIM_COUNTERMODE_UP;
  htim1.Init.Period = 0xffff-1;
  htim1.Init.ClockDivision = TIM_CLOCKDIVISION_DIV1;
  htim1.Init.RepetitionCounter = 0;
  htim1.Init.AutoReloadPreload = TIM_AUTORELOAD_PRELOAD_DISABLE;
  if (HAL_TIM_Base_Init(&htim1) != HAL_OK)
  {
    Error_Handler();
  }
  sClockSourceConfig.ClockSource = TIM_CLOCKSOURCE_INTERNAL;
  if (HAL_TIM_ConfigClockSource(&htim1, &sClockSourceConfig) != HAL_OK)
  {
    Error_Handler();
  }
  sMasterConfig.MasterOutputTrigger = TIM_TRGO_RESET;
  sMasterConfig.MasterSlaveMode = TIM_MASTERSLAVEMODE_DISABLE;
  if (HAL_TIMEx_MasterConfigSynchronization(&htim1, &sMasterConfig) != HAL_OK)
  {
    Error_Handler();
  }

}

static void MX_USART3_UART_Init(void)
{

  huart3.Instance = USART3;
  huart3.Init.BaudRate = 9600;
  huart3.Init.WordLength = UART_WORDLENGTH_8B;
  huart3.Init.StopBits = UART_STOPBITS_1;
  huart3.Init.Parity = UART_PARITY_NONE;
  huart3.Init.Mode = UART_MODE_TX_RX;
  huart3.Init.HwFlowCtl = UART_HWCONTROL_NONE;
  huart3.Init.OverSampling = UART_OVERSAMPLING_16;
  if (HAL_UART_Init(&huart3) != HAL_OK)
  {
    Error_Handler();
  }

}

static void MX_DMA_Init(void)
{

  /* DMA controller clock enable */
  __HAL_RCC_DMA1_CLK_ENABLE();

  /* DMA interrupt init */
  /* DMA1_Channel2_IRQn interrupt configuration */
  HAL_NVIC_SetPriority(DMA1_Channel2_IRQn, 0, 0);
  HAL_NVIC_EnableIRQ(DMA1_Channel2_IRQn);
  /* DMA1_Channel3_IRQn interrupt configuration */
  HAL_NVIC_SetPriority(DMA1_Channel3_IRQn, 0, 0);
  HAL_NVIC_EnableIRQ(DMA1_Channel3_IRQn);

}

static void MX_GPIO_Init(void)
{
  GPIO_InitTypeDef GPIO_InitStruct = {0};

  /* GPIO Ports Clock Enable */
  __HAL_RCC_GPIOD_CLK_ENABLE();
  __HAL_RCC_GPIOA_CLK_ENABLE();
  __HAL_RCC_GPIOB_CLK_ENABLE();

  /*Configure GPIO pin Output Level */
  HAL_GPIO_WritePin(GPIOB, GPIO_PIN_0|modbus_Pin, GPIO_PIN_RESET);

  /*Configure GPIO pins : PB0 modbus_Pin */
  GPIO_InitStruct.Pin = GPIO_PIN_0|modbus_Pin;
  GPIO_InitStruct.Mode = GPIO_MODE_OUTPUT_PP;
  GPIO_InitStruct.Pull = GPIO_NOPULL;
  GPIO_InitStruct.Speed = GPIO_SPEED_FREQ_LOW;
  HAL_GPIO_Init(GPIOB, &GPIO_InitStruct);

  /*Configure GPIO pins : entrada4_Pin entrada2_Pin entrada1_Pin */
  GPIO_InitStruct.Pin = entrada4_Pin|entrada2_Pin|entrada1_Pin;
  GPIO_InitStruct.Mode = GPIO_MODE_INPUT;
  GPIO_InitStruct.Pull = GPIO_NOPULL;
  HAL_GPIO_Init(GPIOB, &GPIO_InitStruct);

  /*Configure GPIO pin : entrada3_Pin */
  GPIO_InitStruct.Pin = entrada3_Pin;
  GPIO_InitStruct.Mode = GPIO_MODE_INPUT;
  GPIO_InitStruct.Pull = GPIO_NOPULL;
  HAL_GPIO_Init(entrada3_GPIO_Port, &GPIO_InitStruct);

}

/* USER CODE BEGIN 4 */
void HAL_UART_TxCpltCallback(UART_HandleTypeDef *huart){
	HAL_GPIO_WritePin(modbus_GPIO_Port, modbus_Pin, 0);
	if(h_envio == 1){
			HAL_UART_Receive_DMA(&huart3, M_Tension, 17);
	}else if(h_envio == 2){
			HAL_UART_Receive_DMA(&huart3, M_Corriente, 17);
	}else if(h_envio == 3){
			HAL_UART_Receive_DMA(&huart3, M_Potencia, 17);
	}
}

void HAL_UART_RxCpltCallback(UART_HandleTypeDef *huart){
	HAL_GPIO_WritePin(modbus_GPIO_Port, modbus_Pin, 1);
	if(h_envio == 1){
		h_envio = 2;
		h_calculo |= 0x01;
		HAL_UART_Transmit_DMA(&huart3, mensaje2, 8);
	}else if(h_envio == 2){
		h_envio = 3;
		h_calculo |= 0x02;
		HAL_UART_Transmit_DMA(&huart3, mensaje3, 8);
	}else if(h_envio == 3){
		h_envio = 1;
		h_calculo |= 0x04;
		HAL_UART_Transmit_DMA(&huart3, mensaje1, 8);
	}
}

/* USER CODE END 4 */

void Error_Handler(void)
{
  __disable_irq();
  while (1)
  {
  }
}

/************************ (C) COPYRIGHT STMicroelectronics *****END OF FILE****/
